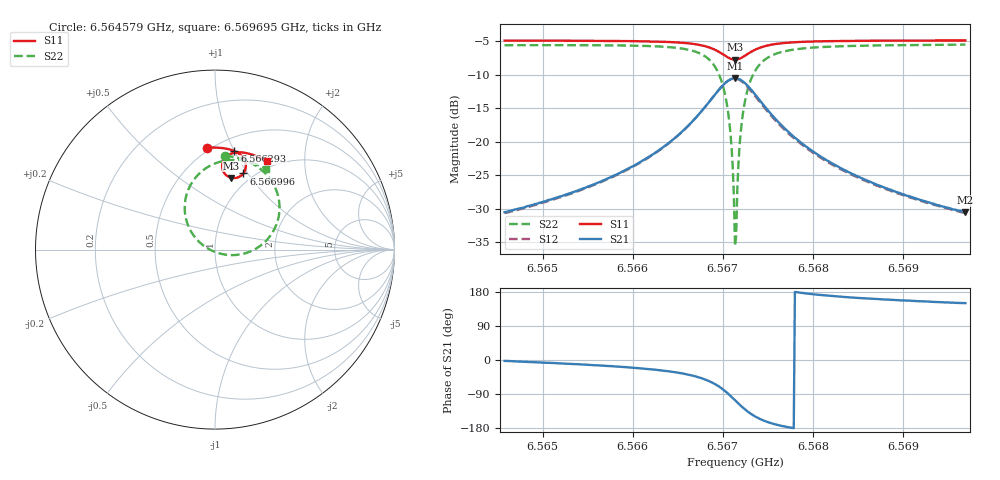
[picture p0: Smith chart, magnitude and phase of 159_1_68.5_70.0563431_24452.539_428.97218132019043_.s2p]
#  HZ  S  RI  R  50.00
! Rohde & Schwarz Vector Network Analyzer
! Rohde-Schwarz,ZNB20-2Port,1311601062101988,3.16
! Created: UTC 3/20/2024, 5:10:51 PM
! freq[Hz]  re:S11  im:S11  re:S21  im:S21  re:S12  im:S12  re:S22  im:S22
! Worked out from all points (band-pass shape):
!   401 points, 6.564579 GHz to 6.569695 GHz, reference 50 ohm
!   highest |S21| = -10.51 dB at 6.567137 GHz (marker M1); lowest = -30.5 dB at 6.569695 GHz (marker M2)
!   |S21| within 3 dB of the highest: 6.566882 GHz to 6.567393 GHz (510.8 kHz wide, 0.00778 % of centre)
!   lowest |S11| = -7.7 dB at 6.567137 GHz (marker M3), VSWR 2.39, Z = 42.2 + j40.6 ohm
!   |S11| at or under -10 dB: nowhere
!   |S22| runs from -35.6 to -5.5 dB; largest |S21 - S12| = 0.015
!   S11 on the Smith chart (normalised r, x): 6.564579 GHz: 0.48, +0.80; 6.566293 GHz: 0.63, +1.00; 6.566996 GHz: 0.89, +0.95; 6.569695 GHz: 0.90, +1.31
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6.5645786e9  -0.0457 0.5671  0.0298 -0.0012  0.0293 -0.00165  0.055 0.5231
6.5654356e9  0.0254 0.5672  0.0434 -0.00909  0.0427 -0.00963  0.1386 0.5075
6.5662925e9  0.108 0.5488  0.0773 -0.0389  0.0762 -0.0398  0.2591 0.4447
6.5665739e9  0.1416 0.5283  0.0992 -0.0733  0.0977 -0.0748  0.3183 0.3768
6.5667786e9  0.1661 0.4952  0.1134 -0.1309  0.1109 -0.1336  0.3577 0.2658
6.5669065e9  0.1715 0.4579  0.1024 -0.1964  0.0972 -0.2001  0.3426 0.1409
6.566996e9  0.158 0.4244  0.0619 -0.2536  0.0531 -0.2568  0.2686 0.0341
6.5670344e9  0.1448 0.4114  0.0311 -0.2748  0.0203 -0.2767  0.2114 -0.00386
6.5670728e9  0.127 0.4019  -0.00808 -0.289  -0.0205 -0.2884  0.1395 -0.0272
6.5670983e9  0.113 0.3987  -0.0373 -0.2926  -0.0503 -0.2897  0.0862 -0.0307
6.5671239e9  0.0986 0.3987  -0.0676 -0.2901  -0.0805 -0.285  0.0323 -0.0234
6.5671367e9  0.0913 0.3997  -0.0827 -0.2866  -0.0953 -0.2805  0.00599 -0.0155
6.5671495e9  0.084 0.4019  -0.0972 -0.2818  -0.1095 -0.2744  -0.0192 -0.00491
6.5671623e9  0.0773 0.4046  -0.1112 -0.2754  -0.1227 -0.267  -0.0431 0.00813
6.5671879e9  0.065 0.4122  -0.1365 -0.2591  -0.1466 -0.2489  -0.0854 0.0403
6.5672262e9  0.0509 0.4275  -0.166 -0.2281  -0.1731 -0.2161  -0.1323 0.099
6.5672774e9  0.041 0.4506  -0.1883 -0.1819  -0.1916 -0.1698  -0.164 0.1826
6.5673414e9  0.0407 0.4779  -0.1945 -0.1294  -0.1941 -0.1187  -0.1654 0.275
6.5675716e9  0.0787 0.5291  -0.1489 -0.0287  -0.1456 -0.0241  -0.0636 0.4442
6.5679937e9  0.1419 0.5422  -0.0849 0.00923  -0.0829 0.0106  0.0779 0.4984
6.5688506e9  0.2243 0.523  -0.0411 0.0157  -0.0402 0.0161  0.2093 0.4822
6.5696948e9  0.2877 0.493  -0.0257 0.0148  -0.0252 0.015  0.2864 0.4479
